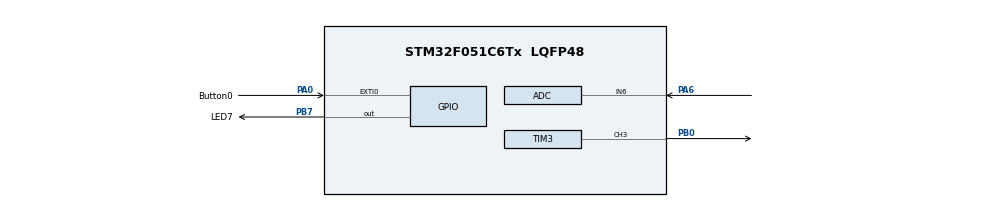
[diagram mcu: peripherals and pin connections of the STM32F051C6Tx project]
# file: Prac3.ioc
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ADC.Resolution=ADC_RESOLUTION_12B
Mcu.Family=STM32F0
Mcu.Name=STM32F051C6Tx
Mcu.Package=LQFP48
PA0.GPIO_Label=Button0
PA0.GPIO_PuPd=GPIO_PULLUP
PA0.Signal=GPXTI0
PA13.Mode=Serial_Wire
PA13.Signal=SYS_SWDIO
PA14.Mode=Serial_Wire
PA14.Signal=SYS_SWCLK
PA6.Mode=IN6
PA6.Signal=ADC_IN6
PB0.Signal=S_TIM3_CH3
PB7.GPIO_Label=LED7
PB7.Signal=GPIO_Output
PF0-OSC_IN.Mode=HSE-External-Oscillator
PF0-OSC_IN.Signal=RCC_OSC_IN
PF1-OSC_OUT.Mode=HSE-External-Oscillator
PF1-OSC_OUT.Signal=RCC_OSC_OUT
ProjectManager.HeapSize=0x200
ProjectManager.StackSize=0x400
ProjectManager.TargetToolchain=STM32CubeIDE
SH.S_TIM3_CH3.0=TIM3_CH3,PWM Generation3 CH3
TIM16.AutoReloadPreload=TIM_AUTORELOAD_PRELOAD_ENABLE
TIM16.ClockDivision=TIM_CLOCKDIVISION_DIV1
TIM16.Period=1000-1
TIM16.Prescaler=8000-1
TIM3.Channel-PWM\ Generation3\ CH3=TIM_CHANNEL_3
TIM3.Period=47999
TIM6.AutoReloadPreload=TIM_AUTORELOAD_PRELOAD_ENABLE
TIM6.Period=500-1
TIM6.Prescaler=8000-1
VP_TIM16_VS_ClockSourceINT.Mode=Enable_Timer
VP_TIM3_VS_ClockSourceINT.Mode=Internal
VP_TIM6_VS_ClockSourceINT.Mode=Enable_Timer
board=custom

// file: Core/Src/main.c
/* USER CODE BEGIN Header */
/**
  ******************************************************************************
  * @file           : main.c
  * @brief          : Main program body
  ******************************************************************************
  * @attention
  *
  * Copyright (c) 2023 STMicroelectronics.
  * All rights reserved.
  *
  * This software is licensed under terms that can be found in the LICENSE file
  * in the root directory of this software component.
  * If no LICENSE file comes with this software, it is provided AS-IS.
  *
  ******************************************************************************
  */
/* USER CODE END Header */
#include "main.h"
#include "stm32f0xx_ll_rcc.h"
#include "stm32f0xx_ll_system.h"

/* USER CODE BEGIN Includes */
#include <stdio.h>
#include "stm32f0xx.h"
#include <lcd_stm32f0.c>
#include "lcd_stm32f0.h"
#include <stm32f051x8.h>
/* USER CODE END Includes */

/* USER CODE BEGIN PD */

// Definitions for SPI usage
#define MEM_SIZE 8192 // bytes
#define WREN 0b00000110 // enable writing
#define WRDI 0b00000100 // disable writing
#define RDSR 0b00000101 // read status register
#define WRSR 0b00000001 // write status register
#define READ 0b00000011
#define WRITE 0b00000010
/* USER CODE END PD */

ADC_HandleTypeDef hadc;

TIM_HandleTypeDef htim3;
TIM_HandleTypeDef htim6;
TIM_HandleTypeDef htim16;

/* USER CODE BEGIN PV */

// TODO: Define input variables
uint8_t EEPROM_data [6] = {0b10101010, 0b01010101, 0b11001100, 0b00110011, 0b11110000, 0b00001111};
//ARR value for ADCtoCCR
uint32_t ARR = 47999;
//ADC value for pollADC anf ADCtoCCR
uint32_t adc_val;

//for calculating delay and detecting 1Hz (1000 ms) and 2Hz (500 ms) frequency
uint32_t previous_time = 0;
uint32_t current_time = 0;
uint32_t delay_time = 500; //initial delay time is 500 ms

//for reading from EEPROM
static int EEPROM_counter = 0;
uint8_t EEPROM_read_value;

//variable for toggling between 1hz and 2hz
static int frequency_toggle = 0;

/* USER CODE END PV */

void SystemClock_Config(void);
static void MX_GPIO_Init(void);
static void MX_ADC_Init(void);
static void MX_TIM3_Init(void);
static void MX_TIM16_Init(void);
static void MX_TIM6_Init(void);
/* USER CODE BEGIN PFP */
void EXTI0_1_IRQHandler(void);
void TIM16_IRQHandler(void);
void writeLCD(char *char_in);

// ADC functions
uint32_t pollADC(void);
uint32_t ADCtoCCR(uint32_t adc_val);

// SPI functions
static void init_spi(void);
static void write_to_address(uint16_t address, uint8_t data);
static uint8_t read_from_address(uint16_t address);
static void spi_delay(uint32_t delay_in_us);
/* USER CODE END PFP */

int main(void)
{

  /* MCU Configuration--------------------------------------------------------*/

  /* Reset of all peripherals, Initializes the Flash interface and the Systick. */
  HAL_Init();
  //init_LCD();
  // lcd_command(CLEAR);
  // lcd_putstring("EEE3095S Prac 3");

  /* Configure the system clock */
  SystemClock_Config();

  /* Initialize all configured peripherals */
  init_spi();
  MX_GPIO_Init();
  MX_ADC_Init();
  MX_TIM3_Init();
  MX_TIM16_Init();
  MX_TIM6_Init();
  /* USER CODE BEGIN 2 */

  // Initialise LCD
  init_LCD();

  // Start timers
  HAL_TIM_Base_Start_IT(&htim6);
  HAL_TIM_Base_Start_IT(&htim16);

  // PWM setup
  uint32_t CCR = 0;
  HAL_TIM_PWM_Start(&htim3, TIM_CHANNEL_3); // Start PWM on TIM3 Channel 3

  // TODO: Write all bytes to EEPROM using "write_to_address"
  for (uint16_t i = 0; i < 6; i++) {
    write_to_address(i, EEPROM_data[i]);
  }

  /* USER CODE END 2 */

  /* Infinite loop */
  /* USER CODE BEGIN WHILE */
  while (1)
  {

  //toggle LED7
  //HAL_GPIO_TogglePin(GPIOB, LED7_Pin);

	// TODO: Poll ADC
  adc_val = pollADC(); //reads the analog value from the potentiometer

	// TODO: Get CRR
  CCR = ADCtoCCR(adc_val); //converts the analog value to a CCR value for the PWM signal

  // Update PWM value
	__HAL_TIM_SetCompare(&htim3, TIM_CHANNEL_3, CCR);

  //HAL_Delay(delay_time); //delay for the specified time (500ms or 1000ms)

    /* USER CODE END WHILE */

  }
}

void SystemClock_Config(void)
{
  LL_FLASH_SetLatency(LL_FLASH_LATENCY_0);
  while(LL_FLASH_GetLatency() != LL_FLASH_LATENCY_0)
  {
  }
  LL_RCC_HSI_Enable();

   /* Wait till HSI is ready */
  while(LL_RCC_HSI_IsReady() != 1)
  {

  }
  LL_RCC_HSI_SetCalibTrimming(16);
  LL_RCC_HSI14_Enable();

   /* Wait till HSI14 is ready */
  while(LL_RCC_HSI14_IsReady() != 1)
  {

  }
  LL_RCC_HSI14_SetCalibTrimming(16);
  LL_RCC_SetAHBPrescaler(LL_RCC_SYSCLK_DIV_1);
  LL_RCC_SetAPB1Prescaler(LL_RCC_APB1_DIV_1);
  LL_RCC_SetSysClkSource(LL_RCC_SYS_CLKSOURCE_HSI);

   /* Wait till System clock is ready */
  while(LL_RCC_GetSysClkSource() != LL_RCC_SYS_CLKSOURCE_STATUS_HSI)
  {

  }
  LL_SetSystemCoreClock(8000000);

   /* Update the time base */
  if (HAL_InitTick (TICK_INT_PRIORITY) != HAL_OK)
  {
    Error_Handler();
  }
  LL_RCC_HSI14_EnableADCControl();
}

static void MX_ADC_Init(void)
{

  ADC_ChannelConfTypeDef sConfig = {0};

  /** Configure the global features of the ADC (Clock, Resolution, Data Alignment and number of conversion)
  */
  hadc.Instance = ADC1;
  hadc.Init.ClockPrescaler = ADC_CLOCK_ASYNC_DIV1;
  hadc.Init.Resolution = ADC_RESOLUTION_12B;
  hadc.Init.DataAlign = ADC_DATAALIGN_RIGHT;
  hadc.Init.ScanConvMode = ADC_SCAN_DIRECTION_FORWARD;
  hadc.Init.EOCSelection = ADC_EOC_SINGLE_CONV;
  hadc.Init.LowPowerAutoWait = DISABLE;
  hadc.Init.LowPowerAutoPowerOff = DISABLE;
  hadc.Init.ContinuousConvMode = DISABLE;
  hadc.Init.DiscontinuousConvMode = DISABLE;
  hadc.Init.ExternalTrigConv = ADC_SOFTWARE_START;
  hadc.Init.ExternalTrigConvEdge = ADC_EXTERNALTRIGCONVEDGE_NONE;
  hadc.Init.DMAContinuousRequests = DISABLE;
  hadc.Init.Overrun = ADC_OVR_DATA_PRESERVED;
  if (HAL_ADC_Init(&hadc) != HAL_OK)
  {
    Error_Handler();
  }

  /** Configure for the selected ADC regular channel to be converted.
  */
  sConfig.Channel = ADC_CHANNEL_6;
  sConfig.Rank = ADC_RANK_CHANNEL_NUMBER;
  sConfig.SamplingTime = ADC_SAMPLETIME_1CYCLE_5;
  if (HAL_ADC_ConfigChannel(&hadc, &sConfig) != HAL_OK)
  {
    Error_Handler();
  }
  /* USER CODE BEGIN ADC_Init 2 */
  ADC1->CR |= ADC_CR_ADCAL;
  while(ADC1->CR & ADC_CR_ADCAL);			// Calibrate the ADC
  ADC1->CR |= (1 << 0);						// Enable ADC
  while((ADC1->ISR & (1 << 0)) == 0);		// Wait for ADC ready
  /* USER CODE END ADC_Init 2 */

}

static void MX_TIM3_Init(void)
{

  TIM_ClockConfigTypeDef sClockSourceConfig = {0};
  TIM_MasterConfigTypeDef sMasterConfig = {0};
  TIM_OC_InitTypeDef sConfigOC = {0};

  htim3.Instance = TIM3;
  htim3.Init.Prescaler = 0;
  htim3.Init.CounterMode = TIM_COUNTERMODE_UP;
  htim3.Init.Period = 47999;
  htim3.Init.ClockDivision = TIM_CLOCKDIVISION_DIV1;
  htim3.Init.AutoReloadPreload = TIM_AUTORELOAD_PRELOAD_DISABLE;
  if (HAL_TIM_Base_Init(&htim3) != HAL_OK)
  {
    Error_Handler();
  }
  sClockSourceConfig.ClockSource = TIM_CLOCKSOURCE_INTERNAL;
  if (HAL_TIM_ConfigClockSource(&htim3, &sClockSourceConfig) != HAL_OK)
  {
    Error_Handler();
  }
  if (HAL_TIM_PWM_Init(&htim3) != HAL_OK)
  {
    Error_Handler();
  }
  sMasterConfig.MasterOutputTrigger = TIM_TRGO_RESET;
  sMasterConfig.MasterSlaveMode = TIM_MASTERSLAVEMODE_DISABLE;
  if (HAL_TIMEx_MasterConfigSynchronization(&htim3, &sMasterConfig) != HAL_OK)
  {
    Error_Handler();
  }
  sConfigOC.OCMode = TIM_OCMODE_PWM1;
  sConfigOC.Pulse = 0;
  sConfigOC.OCPolarity = TIM_OCPOLARITY_HIGH;
  sConfigOC.OCFastMode = TIM_OCFAST_DISABLE;
  if (HAL_TIM_PWM_ConfigChannel(&htim3, &sConfigOC, TIM_CHANNEL_3) != HAL_OK)
  {
    Error_Handler();
  }
  HAL_TIM_MspPostInit(&htim3);

}

static void MX_TIM6_Init(void)
{

  TIM_MasterConfigTypeDef sMasterConfig = {0};

  htim6.Instance = TIM6;
  htim6.Init.Prescaler = 8000-1;
  htim6.Init.CounterMode = TIM_COUNTERMODE_UP;
  //htim6.Init.Period = 500-1;
  htim6.Init.Period = delay_time - 1;

  htim6.Init.AutoReloadPreload = TIM_AUTORELOAD_PRELOAD_ENABLE;
  if (HAL_TIM_Base_Init(&htim6) != HAL_OK)
  {
    Error_Handler();
  }
  sMasterConfig.MasterOutputTrigger = TIM_TRGO_RESET;
  sMasterConfig.MasterSlaveMode = TIM_MASTERSLAVEMODE_DISABLE;
  if (HAL_TIMEx_MasterConfigSynchronization(&htim6, &sMasterConfig) != HAL_OK)
  {
    Error_Handler();
  }
  /* USER CODE BEGIN TIM6_Init 2 */
  NVIC_EnableIRQ(TIM6_IRQn);
  /* USER CODE END TIM6_Init 2 */

}

static void MX_TIM16_Init(void)
{

  htim16.Instance = TIM16;
  htim16.Init.Prescaler = 8000-1;
  htim16.Init.CounterMode = TIM_COUNTERMODE_UP;
  htim16.Init.Period = 1000-1;
  htim16.Init.ClockDivision = TIM_CLOCKDIVISION_DIV1;
  htim16.Init.RepetitionCounter = 0;
  htim16.Init.AutoReloadPreload = TIM_AUTORELOAD_PRELOAD_ENABLE;
  if (HAL_TIM_Base_Init(&htim16) != HAL_OK)
  {
    Error_Handler();
  }
  /* USER CODE BEGIN TIM16_Init 2 */
  NVIC_EnableIRQ(TIM16_IRQn);
  /* USER CODE END TIM16_Init 2 */

}

static void MX_GPIO_Init(void)
{
  LL_EXTI_InitTypeDef EXTI_InitStruct = {0};
  LL_GPIO_InitTypeDef GPIO_InitStruct = {0};

  /* GPIO Ports Clock Enable */
  LL_AHB1_GRP1_EnableClock(LL_AHB1_GRP1_PERIPH_GPIOF);
  LL_AHB1_GRP1_EnableClock(LL_AHB1_GRP1_PERIPH_GPIOA);
  LL_AHB1_GRP1_EnableClock(LL_AHB1_GRP1_PERIPH_GPIOB);

  /**/
  LL_GPIO_ResetOutputPin(LED7_GPIO_Port, LED7_Pin);

  /**/
  LL_SYSCFG_SetEXTISource(LL_SYSCFG_EXTI_PORTA, LL_SYSCFG_EXTI_LINE0);

  /**/
  LL_GPIO_SetPinPull(Button0_GPIO_Port, Button0_Pin, LL_GPIO_PULL_UP);

  /**/
  LL_GPIO_SetPinMode(Button0_GPIO_Port, Button0_Pin, LL_GPIO_MODE_INPUT);

  /**/
  EXTI_InitStruct.Line_0_31 = LL_EXTI_LINE_0;
  EXTI_InitStruct.LineCommand = ENABLE;
  EXTI_InitStruct.Mode = LL_EXTI_MODE_IT;
  EXTI_InitStruct.Trigger = LL_EXTI_TRIGGER_RISING;
  LL_EXTI_Init(&EXTI_InitStruct);

  /**/
  GPIO_InitStruct.Pin = LED7_Pin;
  GPIO_InitStruct.Mode = LL_GPIO_MODE_OUTPUT;
  GPIO_InitStruct.Speed = LL_GPIO_SPEED_FREQ_LOW;
  GPIO_InitStruct.OutputType = LL_GPIO_OUTPUT_PUSHPULL;
  GPIO_InitStruct.Pull = LL_GPIO_PULL_NO;
  LL_GPIO_Init(LED7_GPIO_Port, &GPIO_InitStruct);

/* USER CODE BEGIN MX_GPIO_Init_2 */
  HAL_NVIC_SetPriority(EXTI0_1_IRQn, 0, 0);
  HAL_NVIC_EnableIRQ(EXTI0_1_IRQn);
/* USER CODE END MX_GPIO_Init_2 */
}

/* USER CODE BEGIN 4 */
void EXTI0_1_IRQHandler(void)
{
	// TODO: Add code to switch LED7 delay frequency
  current_time = HAL_GetTick();

  if((current_time - previous_time) >= 500) //check that button press is not too fast
  {
    if(delay_time == 500) //if the frequency is 2Hz, change to 1Hz
    {
      delay_time = 1000;
      //set period to delay time
      htim6.Init.Period = delay_time - 1;
    }
    else
    {
      delay_time = 500; //if the frequency is 1Hz, change to 2Hz
      //set period to delay time
      htim6.Init.Period = delay_time - 1;
    }

    //update TIM6 with the new period - error checking
    if (HAL_TIM_Base_Init(&htim6) != HAL_OK)
    {
      Error_Handler();
    }

    previous_time = current_time; //update the previous time
  }

  // Acknowledge interrupt
	HAL_GPIO_EXTI_IRQHandler(Button0_Pin); // Clear interrupt flags
}

void TIM6_IRQHandler(void)
{
	// Acknowledge interrupt
	HAL_TIM_IRQHandler(&htim6);

	// Toggle LED7
	HAL_GPIO_TogglePin(GPIOB, LED7_Pin);

}

void TIM16_IRQHandler(void)
{
	// Acknowledge interrupt
	HAL_TIM_IRQHandler(&htim16);

	// TODO: Initialise a string to output second line on LCD

  //read from EEPROM
  EEPROM_read_value = read_from_address(EEPROM_counter);
  //EEPROM_read_value = EEPROM_data[EEPROM_counter];

  char decimalValue[16]; //buffer for the display string

	// TODO: Change LED pattern; output 0x01 if the read SPI data is incorrect

  //compare read and expected values

  //display the read value on the LCD
  //check if the read value is correct
  // HAL_GPIO_WritePin(GPIOB, LED7_Pin, GPIO_PIN_SET);   // LED7 on
  // HAL_GPIO_WritePin(GPIOB, GPIO_PIN_6, GPIO_PIN_RESET); // Other LED off
  // HAL_GPIO_WritePin(GPIOB, GPIO_PIN_5, GPIO_PIN_RESET); // Other LED off
  // HAL_GPIO_WritePin(GPIOB, GPIO_PIN_4, GPIO_PIN_RESET);
  // HAL_GPIO_WritePin(GPIOB, GPIO_PIN_3, GPIO_PIN_RESET);
  // HAL_GPIO_WritePin(GPIOB, GPIO_PIN_2, GPIO_PIN_RESET);
  // HAL_GPIO_WritePin(GPIOB, GPIO_PIN_1, GPIO_PIN_RESET);
  // HAL_GPIO_WritePin(GPIOB, GPIO_PIN_0, GPIO_PIN_RESET);

  if (EEPROM_read_value!= EEPROM_data[EEPROM_counter])
  {
    writeLCD("SPI ERROR!");

    //set LED7 on (high)
    HAL_GPIO_WritePin(GPIOB, GPIO_PIN_7, GPIO_PIN_SET);
  }
  else
  {
    snprintf(decimalValue, sizeof(decimalValue), "%d", EEPROM_read_value);
    writeLCD(decimalValue);
  }

  //update counter and reset if it reaches the end of the array
  EEPROM_counter = (EEPROM_counter + 1) % 6;

}

// TODO: Complete the writeLCD function
void writeLCD(char *char_in){
  delay(3000);

  lcd_command(CLEAR);
  //lcd_putstring(char_in);
  lcd_putstring("EEPROM byte:");
  lcd_command(LINE_TWO);
  lcd_putstring(char_in);

}

// Get ADC value
uint32_t pollADC(void){ //modified pollADC function
	HAL_ADC_Start(&hadc); // start the adc
	HAL_ADC_PollForConversion(&hadc, 100); // poll for conversion
  //HAL_ADC_PollForConversion(&hadc, HAL_MAX_DELAY); // poll for conversion
	uint32_t val = HAL_ADC_GetValue(&hadc); // get the adc value
	HAL_ADC_Stop(&hadc); // stop adc
	return val;
  //return HAL_ADC_GetValue(&hadc);
}

// Calculate PWM CCR value
uint32_t ADCtoCCR(uint32_t adc_val){
  // TODO: Calculate CCR value (val) using an appropriate equation
  uint32_t val = (adc_val * ARR) / 4095;
	return val;
}

void ADC1_COMP_IRQHandler(void)
{
	adc_val = HAL_ADC_GetValue(&hadc); // read adc value
	HAL_ADC_IRQHandler(&hadc); //Clear flags
}

// Initialise SPI
static void init_spi(void) {

  // Clock to PB
  RCC->AHBENR |= RCC_AHBENR_GPIOBEN; 	// Enable clock for SPI port

  // Set pin modes
  GPIOB->MODER |= GPIO_MODER_MODER13_1; // Set pin SCK (PB13) to Alternate Function
  GPIOB->MODER |= GPIO_MODER_MODER14_1; // Set pin MISO (PB14) to Alternate Function
  GPIOB->MODER |= GPIO_MODER_MODER15_1; // Set pin MOSI (PB15) to Alternate Function
  GPIOB->MODER |= GPIO_MODER_MODER12_0; // Set pin CS (PB12) to output push-pull
  GPIOB->BSRR |= GPIO_BSRR_BS_12; 		// Pull CS high

  // Clock enable to SPI
  RCC->APB1ENR |= RCC_APB1ENR_SPI2EN;
  SPI2->CR1 |= SPI_CR1_BIDIOE; 									// Enable output
  SPI2->CR1 |= (SPI_CR1_BR_0 |  SPI_CR1_BR_1); 					// Set Baud to fpclk / 16
  SPI2->CR1 |= SPI_CR1_MSTR; 									// Set to master mode
  SPI2->CR2 |= SPI_CR2_FRXTH; 									// Set RX threshold to be 8 bits
  SPI2->CR2 |= SPI_CR2_SSOE; 									// Enable slave output to work in master mode
  SPI2->CR2 |= (SPI_CR2_DS_0 | SPI_CR2_DS_1 | SPI_CR2_DS_2); 	// Set to 8-bit mode
  SPI2->CR1 |= SPI_CR1_SPE; 									// Enable the SPI peripheral
}

// Implements a delay in microseconds
static void spi_delay(uint32_t delay_in_us) {
  volatile uint32_t counter = 0;
  delay_in_us *= 3;
  for(; counter < delay_in_us; counter++) {
    __asm("nop");
    __asm("nop");
  }
}

// Write to EEPROM address using SPI
static void write_to_address(uint16_t address, uint8_t data) {

	uint8_t dummy; // Junk from the DR

	// Set the Write Enable latch
	GPIOB->BSRR |= GPIO_BSRR_BR_12; // Pull CS low
	spi_delay(1);
	*((uint8_t*)(&SPI2->DR)) = WREN;
	while ((SPI2->SR & SPI_SR_RXNE) == 0); // Hang while RX is empty
	dummy = SPI2->DR;
	GPIOB->BSRR |= GPIO_BSRR_BS_12; // Pull CS high
	spi_delay(5000);

	// Send write instruction
	GPIOB->BSRR |= GPIO_BSRR_BR_12; 			// Pull CS low
	spi_delay(1);
	*((uint8_t*)(&SPI2->DR)) = WRITE;
	while ((SPI2->SR & SPI_SR_RXNE) == 0); 		// Hang while RX is empty
	dummy = SPI2->DR;

	// Send 16-bit address
	*((uint8_t*)(&SPI2->DR)) = (address >> 8); 	// Address MSB
	while ((SPI2->SR & SPI_SR_RXNE) == 0); 		// Hang while RX is empty
	dummy = SPI2->DR;
	*((uint8_t*)(&SPI2->DR)) = (address); 		// Address LSB
	while ((SPI2->SR & SPI_SR_RXNE) == 0); 		// Hang while RX is empty
	dummy = SPI2->DR;

	// Send the data
	*((uint8_t*)(&SPI2->DR)) = data;
	while ((SPI2->SR & SPI_SR_RXNE) == 0); // Hang while RX is empty
	dummy = SPI2->DR;
	GPIOB->BSRR |= GPIO_BSRR_BS_12; // Pull CS high
	spi_delay(5000);
}

// Read from EEPROM address using SPI
static uint8_t read_from_address(uint16_t address) {

	uint8_t dummy; // Junk from the DR

	// Send the read instruction
	GPIOB->BSRR |= GPIO_BSRR_BR_12; 			// Pull CS low
	spi_delay(1);
	*((uint8_t*)(&SPI2->DR)) = READ;
	while ((SPI2->SR & SPI_SR_RXNE) == 0); 		// Hang while RX is empty
	dummy = SPI2->DR;

	// Send 16-bit address
	*((uint8_t*)(&SPI2->DR)) = (address >> 8); 	// Address MSB
	while ((SPI2->SR & SPI_SR_RXNE) == 0);		// Hang while RX is empty
	dummy = SPI2->DR;
	*((uint8_t*)(&SPI2->DR)) = (address); 		// Address LSB
	while ((SPI2->SR & SPI_SR_RXNE) == 0); 		// Hang while RX is empty
	dummy = SPI2->DR;

	// Clock in the data
	*((uint8_t*)(&SPI2->DR)) = 0x42; 			// Clock out some junk data
	while ((SPI2->SR & SPI_SR_RXNE) == 0); 		// Hang while RX is empty
	dummy = SPI2->DR;
	GPIOB->BSRR |= GPIO_BSRR_BS_12; 			// Pull CS high
	spi_delay(5000);

	return dummy;								// Return read data
}
/* USER CODE END 4 */

void Error_Handler(void)
{
  __disable_irq();
  while (1)
  {
  }
}
